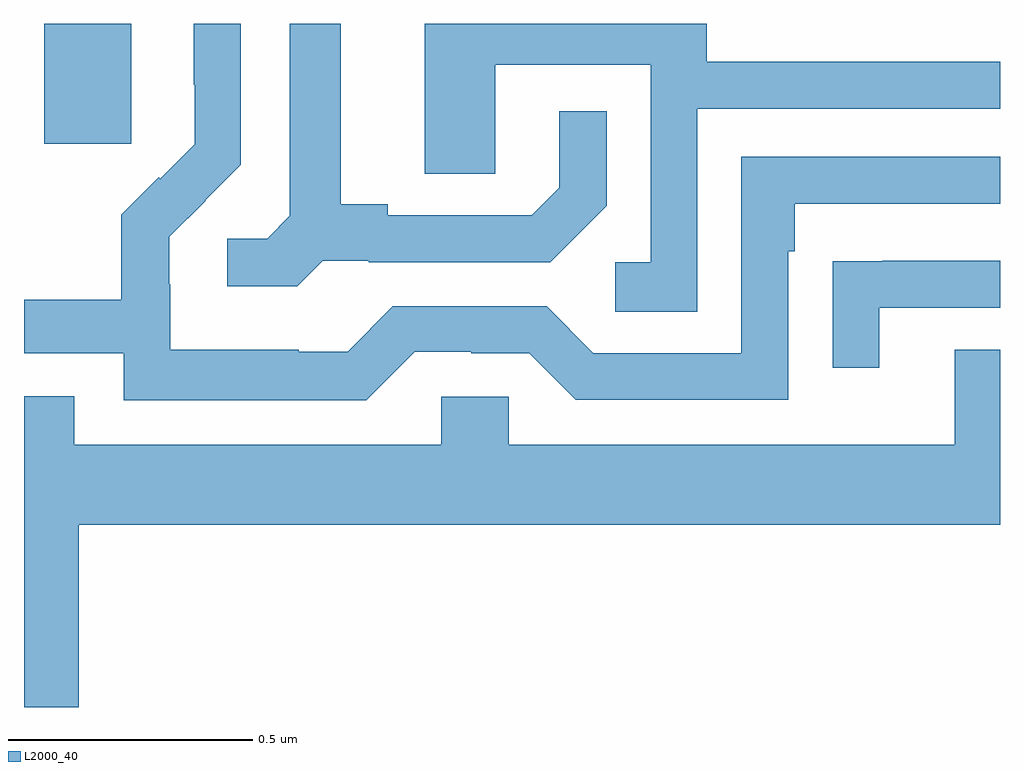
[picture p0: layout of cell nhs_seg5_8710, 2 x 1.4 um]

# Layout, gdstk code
import gdstk
lib = gdstk.Library(unit=1e-6, precision=1e-09)
def R(c, l, rs):  # rectangles x0, y0, x1, y1
    for r in rs: c.add(gdstk.rectangle(r[:2], r[2:], *l))
def P(c, l, *ps):  # polygons
    for p in ps: c.add(gdstk.Polygon(p, *l))
L2000_40 = (2000, 40)

nhs_seg5_8710 = lib.new_cell('nhs_seg5_8710')
R(nhs_seg5_8710, L2000_40, [(225.041,845.553,225.22,845.799)])
P(nhs_seg5_8710, L2000_40, [(226.38,845.625),(227,845.625),(227,845.721),(226.399,845.721),(226.399,845.799),(225.821,845.799),(225.821,845.491),(225.966,845.491),(225.966,845.715),(226.284,845.715),(226.284,845.31),(226.212,845.31),(226.212,845.209),(226.38,845.209)],
  [(225.612,845.313),(225.706,845.313),(225.706,845.31),(226.078,845.31),(226.194,845.426),(226.194,845.62),(226.097,845.62),(226.097,845.463),(226.04,845.406),(225.745,845.406),(225.745,845.429),(225.649,845.429),(225.649,845.799),(225.545,845.799),(225.545,845.405),(225.498,845.358),(225.417,845.358),(225.417,845.261),(225.56,845.261)],
  [(225.801,845.127),(225.917,845.127),(225.917,845.124),(226.035,845.124),(226.131,845.028),(226.566,845.028),(226.566,845.333),(226.579,845.333),(226.579,845.43),(227,845.43),(227,845.526),(226.47,845.526),(226.47,845.124),(226.167,845.124),(226.071,845.22),(225.756,845.22),(225.663,845.127),(225.563,845.127),(225.563,845.131),(225.3,845.131),(225.3,845.265),(225.298,845.265),(225.298,845.362),(225.372,845.436),(225.371,845.437),(225.444,845.51),(225.444,845.799),(225.348,845.799),(225.348,845.674),(225.35,845.674),(225.35,845.552),(225.279,845.481),(225.276,845.484),(225.199,845.407),(225.199,845.233),(225,845.233),(225,845.124),(225.204,845.124),(225.204,845.027),(225.701,845.027)],
  [(226.753,845.217),(227,845.217),(227,845.313),(226.759,845.313),(226.759,845.312),(226.657,845.312),(226.657,845.094),(226.753,845.094)],
  [(225.112,844.772),(227,844.772),(227,845.131),(226.907,845.131),(226.907,844.936),(225.993,844.936),(225.993,845.034),(225.855,845.034),(225.855,844.936),(225.103,844.936),(225.103,845.035),(225,845.035),(225,844.398),(225.112,844.398)])

lib.write_gds('nhs_seg5_8710.gds')
